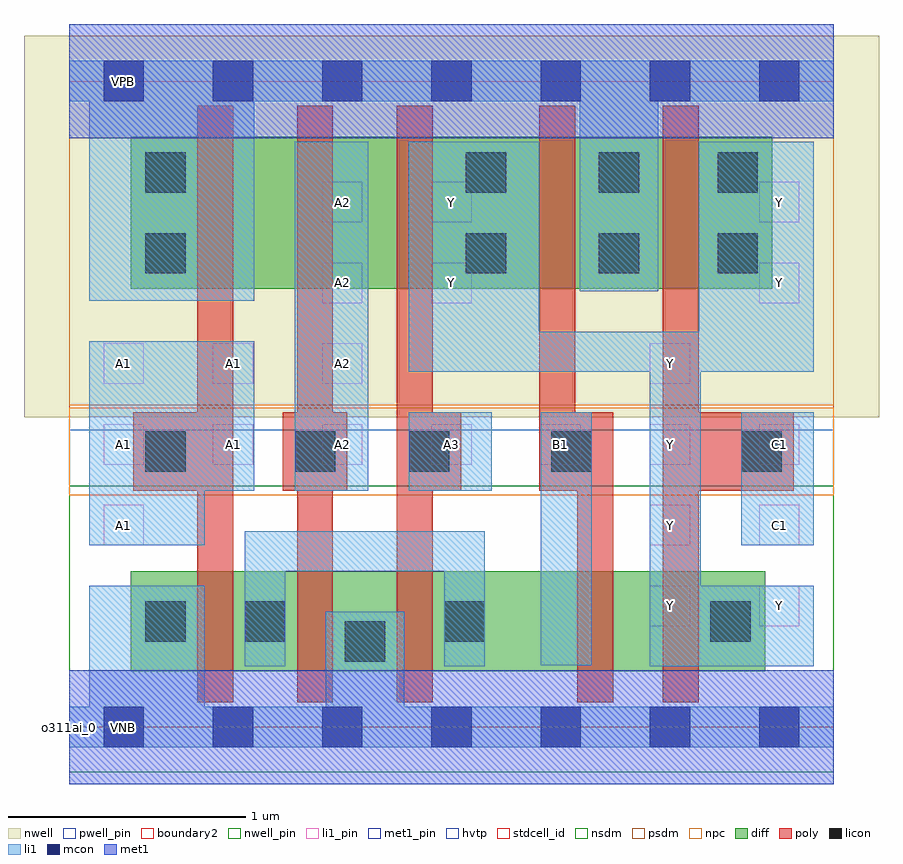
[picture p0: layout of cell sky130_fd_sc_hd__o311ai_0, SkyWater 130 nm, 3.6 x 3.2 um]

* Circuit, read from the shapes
.subckt sky130_fd_sc_hd__o311ai_0 A1 A2 A3 B1 C1 VGND VNB VPB VPWR Y
XM1 n1 A1 VGND VNB sky130_fd_pr__nfet_01v8 w=0.42 l=0.15
XM2 VGND A2 n1 VNB sky130_fd_pr__nfet_01v8 w=0.42 l=0.15
XM3 n1 A3 VGND VNB sky130_fd_pr__nfet_01v8 w=0.42 l=0.15
XM4 n2 B1 n1 VNB sky130_fd_pr__nfet_01v8 w=0.42 l=0.15
XM5 Y C1 n2 VNB sky130_fd_pr__nfet_01v8 w=0.42 l=0.15
XM6 n3 A1 VPWR VPB sky130_fd_pr__pfet_01v8_hvt w=0.64 l=0.15
XM7 n4 A2 n3 VPB sky130_fd_pr__pfet_01v8_hvt w=0.64 l=0.15
XM8 Y A3 n4 VPB sky130_fd_pr__pfet_01v8_hvt w=0.64 l=0.15
XM9 VPWR B1 Y VPB sky130_fd_pr__pfet_01v8_hvt w=0.64 l=0.15
XM10 Y C1 VPWR VPB sky130_fd_pr__pfet_01v8_hvt w=0.64 l=0.15
.ends

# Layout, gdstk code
import gdstk
lib = gdstk.Library(unit=1e-6, precision=1e-09)
def R(c, l, rs):  # rectangles x0, y0, x1, y1
    for r in rs: c.add(gdstk.rectangle(r[:2], r[2:], *l))
def A(c, l, x, y, w, h, nx, ny, dx, dy):  # array of equal rectangles
    R(c, l, [(x+i*dx, y+j*dy, x+i*dx+w, y+j*dy+h) for i in range(nx) for j in range(ny)])
def P(c, l, *ps):  # polygons
    for p in ps: c.add(gdstk.Polygon(p, *l))
nwell_pin = (64, 16)
nwell = (64, 20)
diff = (65, 20)
poly = (66, 20)
licon = (66, 44)
li1_pin = (67, 16)
li1 = (67, 20)
mcon = (67, 44)
met1_pin = (68, 16)
met1 = (68, 20)
hvtp = (78, 44)
stdcell_id = (81, 4)
nsdm = (93, 44)
psdm = (94, 20)
npc = (95, 20)
pwell_pin = (122, 16)
boundary2 = (236, 0)

sky130_fd_sc_hd__o311ai_ = lib.new_cell('sky130_fd_sc_hd__o311ai_0')
R(sky130_fd_sc_hd__o311ai_, nwell_pin, [(0.145,2.635,0.315,2.805)])
R(sky130_fd_sc_hd__o311ai_, nwell, [(-0.19,1.305,3.41,2.91)])
R(sky130_fd_sc_hd__o311ai_, diff, [(0.26,0.235,2.93,0.655), (0.26,1.845,2.96,2.485)])
P(sky130_fd_sc_hd__o311ai_, poly, [(3.05,1.325),(2.65,1.325),(2.65,2.615),(2.5,2.615),(2.5,0.105),(2.65,0.105),(2.65,0.995),(3.05,0.995)],
  [(2.29,1.325),(2.13,1.325),(2.13,2.615),(1.98,2.615),(1.98,0.995),(2.14,0.995),(2.14,0.105),(2.29,0.105)],
  [(1.65,1.325),(1.53,1.325),(1.53,2.615),(1.38,2.615),(1.38,0.105),(1.53,0.105),(1.53,0.995),(1.65,0.995)],
  [(1.17,1.325),(1.11,1.325),(1.11,2.615),(0.96,2.615),(0.96,1.325),(0.9,1.325),(0.9,0.995),(0.96,0.995),(0.96,0.105),(1.11,0.105),(1.11,0.995),(1.17,0.995)],
  [(0.69,2.615),(0.54,2.615),(0.54,1.325),(0.27,1.325),(0.27,0.995),(0.54,0.995),(0.54,0.105),(0.69,0.105)])
R(sky130_fd_sc_hd__o311ai_, licon, [(1.16,0.275,1.33,0.445), (0.32,0.36,0.49,0.53), (0.74,0.36,0.91,0.53), (1.58,0.36,1.75,0.53), (2.7,0.36,2.87,0.53), (0.32,1.075,0.49,1.245), (0.95,1.075,1.12,1.245), (1.43,1.075,1.6,1.245), (2.03,1.075,2.2,1.245), (2.83,1.075,3,1.245), (0.32,1.91,0.49,2.08), (1.67,1.91,1.84,2.08), (2.23,1.91,2.4,2.08), (2.73,1.91,2.9,2.08), (0.32,2.25,0.49,2.42), (1.67,2.25,1.84,2.42), (2.23,2.25,2.4,2.42), (2.73,2.25,2.9,2.42)])
A(sky130_fd_sc_hd__o311ai_, li1_pin, 0.145, 1.105, 0.17, 0.17, 7, 1, 0.46, 0)
A(sky130_fd_sc_hd__o311ai_, li1_pin, 0.145, 1.445, 0.17, 0.17, 3, 1, 0.46, 0)
R(sky130_fd_sc_hd__o311ai_, li1_pin, [(2.445,0.425,2.615,0.595), (2.905,0.425,3.075,0.595), (0.145,0.765,0.315,0.935), (2.445,0.765,2.615,0.935), (2.905,0.765,3.075,0.935), (2.445,1.445,2.615,1.615), (1.065,1.785,1.235,1.955), (1.525,1.785,1.695,1.955), (2.905,1.785,3.075,1.955), (1.065,2.125,1.235,2.295), (1.525,2.125,1.695,2.295), (2.905,2.125,3.075,2.295)])
R(sky130_fd_sc_hd__o311ai_, li1, [(1.985,0.26,2.2,1.325), (2.83,0.765,3.135,1.325), (0.95,0.995,1.26,2.465), (1.43,0.995,1.78,1.325)])
P(sky130_fd_sc_hd__o311ai_, li1, [(3.135,0.595),(2.66,0.595),(2.66,1.495),(3.135,1.495),(3.135,2.465),(2.65,2.465),(2.65,1.665),(1.98,1.665),(1.98,2.465),(1.43,2.465),(1.43,1.495),(2.445,1.495),(2.445,0.255),(3.135,0.255)],
  [(3.22,0.085),(1.41,0.085),(1.41,0.485),(1.08,0.485),(1.08,0.085),(0.57,0.085),(0.57,0.595),(0.085,0.595),(0.085,0.085),(0,0.085),(0,-0.085),(3.22,-0.085)],
  [(3.22,2.805),(0,2.805),(0,2.635),(0.085,2.635),(0.085,1.795),(0.78,1.795),(0.78,2.635),(2.15,2.635),(2.15,1.835),(2.48,1.835),(2.48,2.635),(3.22,2.635)],
  [(1.75,0.825),(0.74,0.825),(0.74,0.255),(0.91,0.255),(0.91,0.655),(1.58,0.655),(1.58,0.255),(1.75,0.255)],
  [(0.78,1.625),(0.085,1.625),(0.085,0.765),(0.57,0.765),(0.57,0.995),(0.78,0.995)])
A(sky130_fd_sc_hd__o311ai_, mcon, 0.145, -0.085, 0.17, 0.17, 7, 2, 0.46, 2.72)
R(sky130_fd_sc_hd__o311ai_, met1_pin, [(0.145,-0.085,0.315,0.085), (0.145,2.635,0.315,2.805)])
R(sky130_fd_sc_hd__o311ai_, hvtp, [(0,1.25,3.22,2.72)])
R(sky130_fd_sc_hd__o311ai_, stdcell_id, [(0,0,3.22,2.72)])
R(sky130_fd_sc_hd__o311ai_, nsdm, [(0,-0.19,3.22,1.015)])
R(sky130_fd_sc_hd__o311ai_, psdm, [(0,1.355,3.22,2.91)])
R(sky130_fd_sc_hd__o311ai_, npc, [(0,0.975,3.22,1.345)])
R(sky130_fd_sc_hd__o311ai_, pwell_pin, [(0.145,-0.085,0.315,0.085)])
R(sky130_fd_sc_hd__o311ai_, boundary2, [(0,0,3.22,2.72)])
sky130_fd_sc_hd__o311ai_.add(gdstk.FlexPath([(0,2.72),(3.22,2.72)], 0.48, ends="flush", simple_path=True, layer=68, datatype=20))  # met1
sky130_fd_sc_hd__o311ai_.add(gdstk.FlexPath([(0,0),(3.22,0)], 0.48, ends="flush", simple_path=True, layer=68, datatype=20))  # met1
sky130_fd_sc_hd__o311ai_.add(gdstk.Label('A2', (1.15,2.21), layer=67, texttype=5))
sky130_fd_sc_hd__o311ai_.add(gdstk.Label('C1', (2.99,0.85), layer=67, texttype=5))
sky130_fd_sc_hd__o311ai_.add(gdstk.Label('A1', (0.23,0.85), layer=67, texttype=5))
sky130_fd_sc_hd__o311ai_.add(gdstk.Label('A2', (1.15,1.87), layer=67, texttype=5))
sky130_fd_sc_hd__o311ai_.add(gdstk.Label('A2', (1.15,1.53), layer=67, texttype=5))
sky130_fd_sc_hd__o311ai_.add(gdstk.Label('A1', (0.23,1.53), layer=67, texttype=5))
sky130_fd_sc_hd__o311ai_.add(gdstk.Label('A1', (0.69,1.53), layer=67, texttype=5))
sky130_fd_sc_hd__o311ai_.add(gdstk.Label('Y', (2.99,0.51), layer=67, texttype=5))
sky130_fd_sc_hd__o311ai_.add(gdstk.Label('A1', (0.23,1.19), layer=67, texttype=5))
sky130_fd_sc_hd__o311ai_.add(gdstk.Label('A2', (1.15,1.19), layer=67, texttype=5))
sky130_fd_sc_hd__o311ai_.add(gdstk.Label('A3', (1.61,1.19), layer=67, texttype=5))
sky130_fd_sc_hd__o311ai_.add(gdstk.Label('B1', (2.07,1.19), layer=67, texttype=5))
sky130_fd_sc_hd__o311ai_.add(gdstk.Label('C1', (2.99,1.19), layer=67, texttype=5))
sky130_fd_sc_hd__o311ai_.add(gdstk.Label('A1', (0.69,1.19), layer=67, texttype=5))
sky130_fd_sc_hd__o311ai_.add(gdstk.Label('Y', (2.53,0.85), layer=67, texttype=5))
sky130_fd_sc_hd__o311ai_.add(gdstk.Label('Y', (2.53,1.19), layer=67, texttype=5))
sky130_fd_sc_hd__o311ai_.add(gdstk.Label('Y', (2.53,0.51), layer=67, texttype=5))
sky130_fd_sc_hd__o311ai_.add(gdstk.Label('Y', (2.53,1.53), layer=67, texttype=5))
sky130_fd_sc_hd__o311ai_.add(gdstk.Label('Y', (1.61,1.87), layer=67, texttype=5))
sky130_fd_sc_hd__o311ai_.add(gdstk.Label('Y', (1.61,2.21), layer=67, texttype=5))
sky130_fd_sc_hd__o311ai_.add(gdstk.Label('Y', (2.99,2.21), layer=67, texttype=5))
sky130_fd_sc_hd__o311ai_.add(gdstk.Label('Y', (2.99,1.87), layer=67, texttype=5))
sky130_fd_sc_hd__o311ai_.add(gdstk.Label('VPB', (0.23,2.72), layer=64, texttype=5))
sky130_fd_sc_hd__o311ai_.add(gdstk.Label('VNB', (0.23,0), layer=64, texttype=59))
sky130_fd_sc_hd__o311ai_.add(gdstk.Label('VGND', (0.23,0), layer=68, texttype=5))
sky130_fd_sc_hd__o311ai_.add(gdstk.Label('VPWR', (0.23,2.72), layer=68, texttype=5))
sky130_fd_sc_hd__o311ai_.add(gdstk.Label('o311ai_0', (0,0), layer=83, texttype=44))

lib.write_gds('sky130_fd_sc_hd__o311ai_0.gds')
